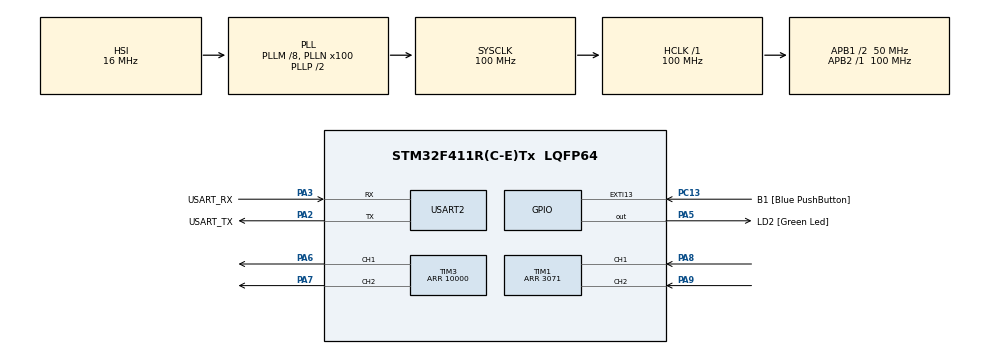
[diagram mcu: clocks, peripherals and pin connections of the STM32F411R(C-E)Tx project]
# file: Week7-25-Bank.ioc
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Mcu.Family=STM32F4
Mcu.Name=STM32F411R(C-E)Tx
Mcu.Package=LQFP64
NVIC.PriorityGroup=NVIC_PRIORITYGROUP_0
PA13.GPIO_Label=TMS
PA13.Mode=Serial_Wire
PA13.Signal=SYS_JTMS-SWDIO
PA14.GPIO_Label=TCK
PA14.Mode=Serial_Wire
PA14.Signal=SYS_JTCK-SWCLK
PA2.GPIO_Label=USART_TX
PA2.Mode=Asynchronous
PA2.Signal=USART2_TX
PA3.GPIO_Label=USART_RX
PA3.Mode=Asynchronous
PA3.Signal=USART2_RX
PA5.GPIO_Label=LD2 [Green Led]
PA5.Signal=GPIO_Output
PA6.Signal=S_TIM3_CH1
PA7.Signal=S_TIM3_CH2
PA8.Signal=S_TIM1_CH1
PA9.Signal=S_TIM1_CH2
PB3.GPIO_Label=SWO
PB3.Signal=SYS_JTDO-SWO
PC13-ANTI_TAMP.GPIO_Label=B1 [Blue PushButton]
PC13-ANTI_TAMP.GPIO_ModeDefaultEXTI=GPIO_MODE_IT_FALLING
PC13-ANTI_TAMP.Signal=GPXTI13
PC14-OSC32_IN.Mode=LSE-External-Oscillator
PC14-OSC32_IN.Signal=RCC_OSC32_IN
PC15-OSC32_OUT.Mode=LSE-External-Oscillator
PC15-OSC32_OUT.Signal=RCC_OSC32_OUT
PH0\ -\ OSC_IN.Mode=HSE-External-Clock-Source
PH0\ -\ OSC_IN.Signal=RCC_OSC_IN
PH1\ -\ OSC_OUT.Mode=HSE-External-Clock-Source
PH1\ -\ OSC_OUT.Signal=RCC_OSC_OUT
ProjectManager.HeapSize=0x200
ProjectManager.StackSize=0x400
ProjectManager.TargetToolchain=STM32CubeIDE
RCC.48MHZClocksFreq_Value=50000000
RCC.AHBFreq_Value=100000000
RCC.APB1CLKDivider=RCC_HCLK_DIV2
RCC.APB1Freq_Value=50000000
RCC.APB1TimFreq_Value=100000000
RCC.APB2Freq_Value=100000000
RCC.APB2TimFreq_Value=100000000
RCC.CortexFreq_Value=100000000
RCC.FLatency-AdvancedSettings=FLASH_LATENCY_3
RCC.HCLKFreq_Value=100000000
RCC.HSE_VALUE=8000000
RCC.HSI_VALUE=16000000
RCC.PLLM=8
RCC.PLLN=100
RCC.SYSCLKFreq_VALUE=100000000
RCC.SYSCLKSource=RCC_SYSCLKSOURCE_PLLCLK
RCC.VCOOutputFreq_Value=200000000
SH.S_TIM1_CH1.0=TIM1_CH1,Encoder_Interface
SH.S_TIM1_CH2.0=TIM1_CH2,Encoder_Interface
SH.S_TIM3_CH1.0=TIM3_CH1,PWM Generation1 CH1
SH.S_TIM3_CH2.0=TIM3_CH2,PWM Generation2 CH2
TIM1.EncoderMode=TIM_ENCODERMODE_TI12
TIM1.Period=3071
TIM2.Prescaler=99
TIM3.Channel-PWM\ Generation1\ CH1=TIM_CHANNEL_1
TIM3.Channel-PWM\ Generation2\ CH2=TIM_CHANNEL_2
TIM3.OCMode_PWM-PWM\ Generation2\ CH2=TIM_OCMODE_PWM2
TIM3.Period=10000
USART2.VirtualMode=VM_ASYNC
VP_TIM2_VS_ClockSourceINT.Mode=Internal
VP_TIM3_VS_ClockSourceINT.Mode=Internal
board=NUCLEO-F411RE

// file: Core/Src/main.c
/* USER CODE BEGIN Header */
/**
  ******************************************************************************
  * @file           : main.c
  * @brief          : Main program body
  ******************************************************************************
  * @attention
  *
  * <h2><center>&copy; Copyright (c) 2021 STMicroelectronics.
  * All rights reserved.</center></h2>
  *
  * This software component is licensed by ST under BSD 3-Clause license,
  * the "License"; You may not use this file except in compliance with the
  * License. You may obtain a copy of the License at:
  *                        opensource.org/licenses/BSD-3-Clause
  *
  ******************************************************************************
  */
/* USER CODE END Header */
#include "main.h"

TIM_HandleTypeDef htim1;
TIM_HandleTypeDef htim2;
TIM_HandleTypeDef htim3;

UART_HandleTypeDef huart2;

/* USER CODE BEGIN PV */
uint64_t _micros = 0;
float EncoderVel = 0;
float error = 0;
float errorplus = 0;
float errorbefore = 0;
float rpmencodervel = 0;
float rpmwant = 0;
float kp = 0;
float ki = 0;
float kd = 0;
float pwmoutput;
uint64_t Timestamp_Encoder = 0;
/* USER CODE END PV */

void SystemClock_Config(void);
static void MX_GPIO_Init(void);
static void MX_USART2_UART_Init(void);
static void MX_TIM1_Init(void);
static void MX_TIM2_Init(void);
static void MX_TIM3_Init(void);
/* USER CODE BEGIN PFP */
uint64_t micros();
float EncoderVelocity_Update();
/* USER CODE END PFP */

int main(void)
{

  /* MCU Configuration--------------------------------------------------------*/

  /* Reset of all peripherals, Initializes the Flash interface and the Systick. */
  HAL_Init();

  /* Configure the system clock */
  SystemClock_Config();

  /* Initialize all configured peripherals */
  MX_GPIO_Init();
  MX_USART2_UART_Init();
  MX_TIM1_Init();
  MX_TIM2_Init();
  MX_TIM3_Init();
  /* USER CODE BEGIN 2 */
  HAL_TIM_Base_Start_IT(&htim2);
  HAL_TIM_Encoder_Start(&htim1, TIM_CHANNEL_ALL);
  /* USER CODE END 2 */

  /* Infinite loop */
  while (1)
  {

    /* USER CODE BEGIN 3 */
	  //RAW Read
	  		//if (micros() - Timestamp_Encoder >= 1000)
	  		//{
	  			//Timestamp_Encoder = micros();
	  			//EncoderVel = EncoderVelocity_Update();
	  		//}
	  		//ค่านี้จะเ�?็บในตัวเเปร encodervel

	  		//Add LPF?
	  		if (micros() - Timestamp_Encoder >= 1000)
	  		{
	  			Timestamp_Encoder = micros();
	  			//EncoderVel = (EncoderVel * 99 + EncoderVelocity_Update()) / 100.0;
	  			rpmencodervel = (EncoderVel*60/3072);
	  			//errorต้องใช้absเนื่องจา�?�?ลัวมีปั�?หา�?ับ�?ารลบหรือบว�?เลข
	  			error = fabs(rpmwant) - fabs(rpmencodervel);
	  			//บว�?เพื่อให้นำไปใส่ในสม�?าร PID ได้
	  			errorplus += error;
	  			//PID equation
	  			pwmoutput = (kp*error)+(ki*errorplus)+(kd*(error-errorbefore));

	  			if(rpmwant < 0)   //เลขติดลบต้้องหมุน�?ลับทาง
	  				            //rpmwant เนื่องจา�?มันเป็นค่าที่ใส่เข้ามาจึงบอ�?ทิศได้
	  			{
	  				__HAL_TIM_SET_COMPARE(&htim3, TIM_CHANNEL_1, 0);
	  				__HAL_TIM_SET_COMPARE(&htim3, TIM_CHANNEL_2, pwmoutput);
	  			}

	  			else if(rpmwant >= 0)     //ใส่ข้อมูลมาเป็นบวกเเปลว่ามอเตอร์หมุนทิศทางปกติ
	  			{
	  				__HAL_TIM_SET_COMPARE(&htim3, TIM_CHANNEL_1, pwmoutput);
	  				__HAL_TIM_SET_COMPARE(&htim3, TIM_CHANNEL_2, 0);
	  			}

	  			errorbefore = error;
	  			//save ค่า errorbefore = error เนื่องจา�?จะได้ save ค่า error ณ ปัจจุบันให้�?ลายเป็น error �?่อนหน้า
	  			//หลังจา�?นั้นพอขึ้น loop ใหม่ error มันจะเปลี่ยนอี�? เเละนั้นเเหละ error before จะมาใช้ใน loop ถัดไปนั้น�?็คือเอาค่าของ loop �?่อนหน้ามานั้นเอง
	  			Encodervel = (Encodervel*999 + EncoderVelocity_Update())/1000;
	  		}
	  		//low pass filter
  }
  /* USER CODE END 3 */
}

void SystemClock_Config(void)
{
  RCC_OscInitTypeDef RCC_OscInitStruct = {0};
  RCC_ClkInitTypeDef RCC_ClkInitStruct = {0};

  /** Configure the main internal regulator output voltage
  */
  __HAL_RCC_PWR_CLK_ENABLE();
  __HAL_PWR_VOLTAGESCALING_CONFIG(PWR_REGULATOR_VOLTAGE_SCALE1);
  /** Initializes the RCC Oscillators according to the specified parameters
  * in the RCC_OscInitTypeDef structure.
  */
  RCC_OscInitStruct.OscillatorType = RCC_OSCILLATORTYPE_HSI;
  RCC_OscInitStruct.HSIState = RCC_HSI_ON;
  RCC_OscInitStruct.HSICalibrationValue = RCC_HSICALIBRATION_DEFAULT;
  RCC_OscInitStruct.PLL.PLLState = RCC_PLL_ON;
  RCC_OscInitStruct.PLL.PLLSource = RCC_PLLSOURCE_HSI;
  RCC_OscInitStruct.PLL.PLLM = 8;
  RCC_OscInitStruct.PLL.PLLN = 100;
  RCC_OscInitStruct.PLL.PLLP = RCC_PLLP_DIV2;
  RCC_OscInitStruct.PLL.PLLQ = 4;
  if (HAL_RCC_OscConfig(&RCC_OscInitStruct) != HAL_OK)
  {
    Error_Handler();
  }
  /** Initializes the CPU, AHB and APB buses clocks
  */
  RCC_ClkInitStruct.ClockType = RCC_CLOCKTYPE_HCLK|RCC_CLOCKTYPE_SYSCLK
                              |RCC_CLOCKTYPE_PCLK1|RCC_CLOCKTYPE_PCLK2;
  RCC_ClkInitStruct.SYSCLKSource = RCC_SYSCLKSOURCE_PLLCLK;
  RCC_ClkInitStruct.AHBCLKDivider = RCC_SYSCLK_DIV1;
  RCC_ClkInitStruct.APB1CLKDivider = RCC_HCLK_DIV2;
  RCC_ClkInitStruct.APB2CLKDivider = RCC_HCLK_DIV1;

  if (HAL_RCC_ClockConfig(&RCC_ClkInitStruct, FLASH_LATENCY_3) != HAL_OK)
  {
    Error_Handler();
  }
}

static void MX_TIM1_Init(void)
{

  TIM_Encoder_InitTypeDef sConfig = {0};
  TIM_MasterConfigTypeDef sMasterConfig = {0};

  htim1.Instance = TIM1;
  htim1.Init.Prescaler = 0;
  htim1.Init.CounterMode = TIM_COUNTERMODE_UP;
  htim1.Init.Period = 3071;
  htim1.Init.ClockDivision = TIM_CLOCKDIVISION_DIV1;
  htim1.Init.RepetitionCounter = 0;
  htim1.Init.AutoReloadPreload = TIM_AUTORELOAD_PRELOAD_DISABLE;
  sConfig.EncoderMode = TIM_ENCODERMODE_TI12;
  sConfig.IC1Polarity = TIM_ICPOLARITY_RISING;
  sConfig.IC1Selection = TIM_ICSELECTION_DIRECTTI;
  sConfig.IC1Prescaler = TIM_ICPSC_DIV1;
  sConfig.IC1Filter = 0;
  sConfig.IC2Polarity = TIM_ICPOLARITY_RISING;
  sConfig.IC2Selection = TIM_ICSELECTION_DIRECTTI;
  sConfig.IC2Prescaler = TIM_ICPSC_DIV1;
  sConfig.IC2Filter = 0;
  if (HAL_TIM_Encoder_Init(&htim1, &sConfig) != HAL_OK)
  {
    Error_Handler();
  }
  sMasterConfig.MasterOutputTrigger = TIM_TRGO_RESET;
  sMasterConfig.MasterSlaveMode = TIM_MASTERSLAVEMODE_DISABLE;
  if (HAL_TIMEx_MasterConfigSynchronization(&htim1, &sMasterConfig) != HAL_OK)
  {
    Error_Handler();
  }

}

static void MX_TIM2_Init(void)
{

  TIM_ClockConfigTypeDef sClockSourceConfig = {0};
  TIM_MasterConfigTypeDef sMasterConfig = {0};

  htim2.Instance = TIM2;
  htim2.Init.Prescaler = 99;
  htim2.Init.CounterMode = TIM_COUNTERMODE_UP;
  htim2.Init.Period = 4294967295;
  htim2.Init.ClockDivision = TIM_CLOCKDIVISION_DIV1;
  htim2.Init.AutoReloadPreload = TIM_AUTORELOAD_PRELOAD_DISABLE;
  if (HAL_TIM_Base_Init(&htim2) != HAL_OK)
  {
    Error_Handler();
  }
  sClockSourceConfig.ClockSource = TIM_CLOCKSOURCE_INTERNAL;
  if (HAL_TIM_ConfigClockSource(&htim2, &sClockSourceConfig) != HAL_OK)
  {
    Error_Handler();
  }
  sMasterConfig.MasterOutputTrigger = TIM_TRGO_RESET;
  sMasterConfig.MasterSlaveMode = TIM_MASTERSLAVEMODE_DISABLE;
  if (HAL_TIMEx_MasterConfigSynchronization(&htim2, &sMasterConfig) != HAL_OK)
  {
    Error_Handler();
  }

}

static void MX_TIM3_Init(void)
{

  TIM_ClockConfigTypeDef sClockSourceConfig = {0};
  TIM_MasterConfigTypeDef sMasterConfig = {0};
  TIM_OC_InitTypeDef sConfigOC = {0};

  htim3.Instance = TIM3;
  htim3.Init.Prescaler = 0;
  htim3.Init.CounterMode = TIM_COUNTERMODE_UP;
  htim3.Init.Period = 10000;
  htim3.Init.ClockDivision = TIM_CLOCKDIVISION_DIV1;
  htim3.Init.AutoReloadPreload = TIM_AUTORELOAD_PRELOAD_DISABLE;
  if (HAL_TIM_Base_Init(&htim3) != HAL_OK)
  {
    Error_Handler();
  }
  sClockSourceConfig.ClockSource = TIM_CLOCKSOURCE_INTERNAL;
  if (HAL_TIM_ConfigClockSource(&htim3, &sClockSourceConfig) != HAL_OK)
  {
    Error_Handler();
  }
  if (HAL_TIM_PWM_Init(&htim3) != HAL_OK)
  {
    Error_Handler();
  }
  sMasterConfig.MasterOutputTrigger = TIM_TRGO_RESET;
  sMasterConfig.MasterSlaveMode = TIM_MASTERSLAVEMODE_DISABLE;
  if (HAL_TIMEx_MasterConfigSynchronization(&htim3, &sMasterConfig) != HAL_OK)
  {
    Error_Handler();
  }
  sConfigOC.OCMode = TIM_OCMODE_PWM1;
  sConfigOC.Pulse = 0;
  sConfigOC.OCPolarity = TIM_OCPOLARITY_HIGH;
  sConfigOC.OCFastMode = TIM_OCFAST_DISABLE;
  if (HAL_TIM_PWM_ConfigChannel(&htim3, &sConfigOC, TIM_CHANNEL_1) != HAL_OK)
  {
    Error_Handler();
  }
  sConfigOC.OCMode = TIM_OCMODE_PWM2;
  if (HAL_TIM_PWM_ConfigChannel(&htim3, &sConfigOC, TIM_CHANNEL_2) != HAL_OK)
  {
    Error_Handler();
  }
  HAL_TIM_MspPostInit(&htim3);

}

static void MX_USART2_UART_Init(void)
{

  huart2.Instance = USART2;
  huart2.Init.BaudRate = 115200;
  huart2.Init.WordLength = UART_WORDLENGTH_8B;
  huart2.Init.StopBits = UART_STOPBITS_1;
  huart2.Init.Parity = UART_PARITY_NONE;
  huart2.Init.Mode = UART_MODE_TX_RX;
  huart2.Init.HwFlowCtl = UART_HWCONTROL_NONE;
  huart2.Init.OverSampling = UART_OVERSAMPLING_16;
  if (HAL_UART_Init(&huart2) != HAL_OK)
  {
    Error_Handler();
  }

}

static void MX_GPIO_Init(void)
{
  GPIO_InitTypeDef GPIO_InitStruct = {0};

  /* GPIO Ports Clock Enable */
  __HAL_RCC_GPIOC_CLK_ENABLE();
  __HAL_RCC_GPIOH_CLK_ENABLE();
  __HAL_RCC_GPIOA_CLK_ENABLE();
  __HAL_RCC_GPIOB_CLK_ENABLE();

  /*Configure GPIO pin Output Level */
  HAL_GPIO_WritePin(LD2_GPIO_Port, LD2_Pin, GPIO_PIN_RESET);

  /*Configure GPIO pin : B1_Pin */
  GPIO_InitStruct.Pin = B1_Pin;
  GPIO_InitStruct.Mode = GPIO_MODE_IT_FALLING;
  GPIO_InitStruct.Pull = GPIO_NOPULL;
  HAL_GPIO_Init(B1_GPIO_Port, &GPIO_InitStruct);

  /*Configure GPIO pin : LD2_Pin */
  GPIO_InitStruct.Pin = LD2_Pin;
  GPIO_InitStruct.Mode = GPIO_MODE_OUTPUT_PP;
  GPIO_InitStruct.Pull = GPIO_NOPULL;
  GPIO_InitStruct.Speed = GPIO_SPEED_FREQ_LOW;
  HAL_GPIO_Init(LD2_GPIO_Port, &GPIO_InitStruct);

}

/* USER CODE BEGIN 4 */
#define  HTIM_ENCODER htim1
#define  MAX_SUBPOSITION_OVERFLOW 1536
#define  MAX_ENCODER_PERIOD 3072

float EncoderVelocity_Update()
//angular velocity = diff position / เวลา
{
	//Save Last state
	static uint32_t EncoderLastPosition = 0;
	//ตำเเหน่งปัจจุบัน
	static uint64_t EncoderLastTimestamp = 0;

	//read data
	uint32_t EncoderNowPosition = HTIM_ENCODER.Instance->CNT;
	//ตำเเหน่งปัจจุบัน instance CNT เพื่อเปลี่ยนได้งง่าย
	//TIM1->CNT เขียนได้เหมือน�?ับข้างบน
	uint64_t EncoderNowTimestamp = micros();
	//เวลาที่เ�?ิดในปัจจุบันเป็นหน่วย micro พยายามเขียนให้ติด�?ันเพื่อระหว่าง ตำเเหน่ง�?ับ เวลา ต้องเขียนให้ใ�?ล้�?ันมา�?ที่สุดเพราะมันต้องเ�?ิดไล่เลี้ย�?ัน

	int32_t EncoderPositionDiff;
	//ตำเเหน่งที่เป็นบว�? ลบ ได้ เพราะจะได้หมุนไปด้าน ทวน หรือ ตามเข็มได้
	uint64_t EncoderTimeDiff;
	//เวลาเป็น unit ได้เพราะว่าเวลาเป็นบว�?เสมอ

	EncoderTimeDiff = EncoderNowTimestamp - EncoderLastTimestamp;
	//dt ดิฟเวลา
	EncoderPositionDiff = EncoderNowPosition - EncoderLastPosition;
	//dp ดิฟ position

	//compensate overflow and underflow
	if (EncoderPositionDiff >= MAX_SUBPOSITION_OVERFLOW)
	{
		EncoderPositionDiff -= MAX_ENCODER_PERIOD;
	}
	//ค่าที่เรา diff ได้ ติดลบของติดลบ 2900 มันมา�?�?ว่าใน case นี้�?็ทำตาม -= ตาม case ด้านบนไป
	else if (-EncoderPositionDiff >= MAX_SUBPOSITION_OVERFLOW)
	{
		EncoderPositionDiff += MAX_ENCODER_PERIOD;
	}
	//encoder หมุน�?ลับหลัง
	//เป็นเหตุผลที่จะต้องเพิ่ม counter period สมมติ counter 60000 �?ว่าๆ�?็จะทำให้มันดีขึ้นเเละ overflow ได้ช้า�?ว่า

	//Update Position and time
	EncoderLastPosition = EncoderNowPosition;
	EncoderLastTimestamp = EncoderNowTimestamp;

	//Calculate velocity
	//EncoderTimeDiff is in uS
	return (EncoderPositionDiff * 1000000) / (float) EncoderTimeDiff;

}

void HAL_TIM_PeriodElapsedCallback(TIM_HandleTypeDef *htim)    //callback เพื่อป้อง�?ัน 	overflow
{
	if (htim == &htim2)
	{
		_micros += 4294967295;
	}
}
uint64_t micros()
{
	return _micros + htim2.Instance->CNT;
}
/* USER CODE END 4 */

void Error_Handler(void)
{
  __disable_irq();
  while (1)
  {
  }
}

/************************ (C) COPYRIGHT STMicroelectronics *****END OF FILE****/
